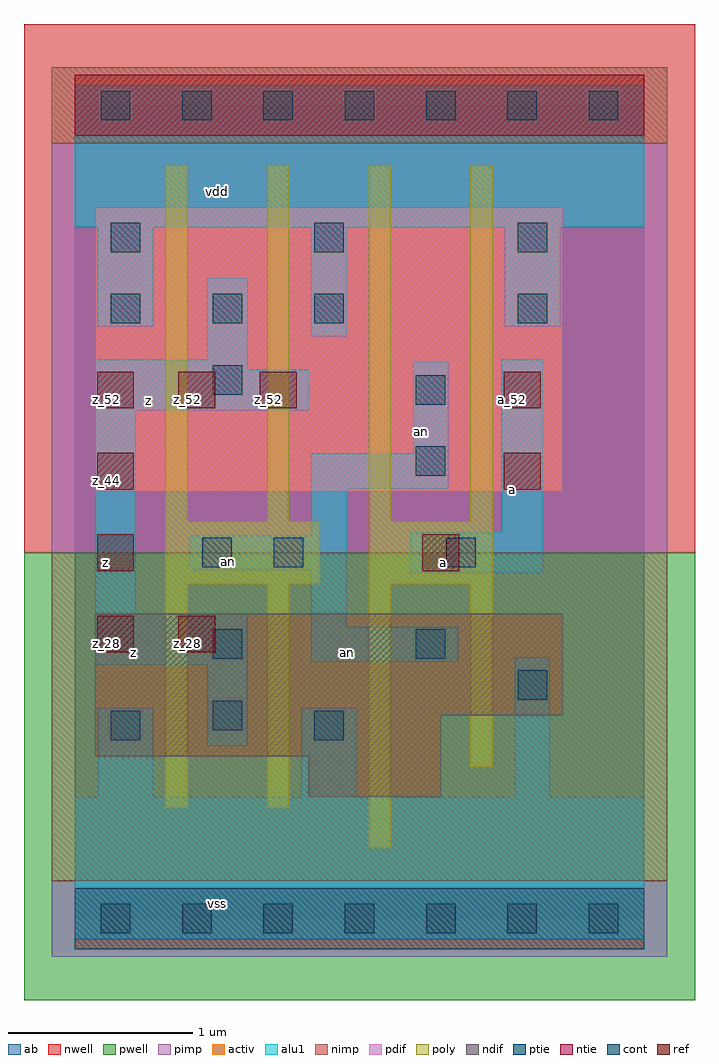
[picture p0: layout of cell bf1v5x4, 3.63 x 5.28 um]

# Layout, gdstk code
import gdstk
lib = gdstk.Library(unit=1e-6, precision=2.5e-09)
def R(c, l, rs):  # rectangles x0, y0, x1, y1
    for r in rs: c.add(gdstk.rectangle(r[:2], r[2:], *l))
def A(c, l, x, y, w, h, nx, ny, dx, dy):  # array of equal rectangles
    R(c, l, [(x+i*dx, y+j*dy, x+i*dx+w, y+j*dy+h) for i in range(nx) for j in range(ny)])
ndif = (3, 0)
pdif = (4, 0)
ntie = (5, 0)
ptie = (6, 0)
ref = (24, 0)
cont = (25, 0)
pwell = (41, 0)
nwell = (42, 0)
activ = (43, 0)
pimp = (44, 0)
nimp = (45, 0)
poly = (46, 0)
alu1 = (49, 0)
ab = (63, 0)

bf1v5x4 = lib.new_cell('bf1v5x4')
R(bf1v5x4, ndif, [(1.265,0.66,1.98,0.88), (0.11,0.88,1.98,1.1), (0.11,1.1,2.64,1.65)])
R(bf1v5x4, pdif, [(0.11,2.31,2.64,3.85)])
R(bf1v5x4, ntie, [(0,4.235,3.08,4.565)])
R(bf1v5x4, ptie, [(0,-0.165,3.08,0.165)])
A(bf1v5x4, ref, 0.12, 1.44, 0.2, 0.2, 1, 3, 0, 0.44)
A(bf1v5x4, ref, 0.12, 2.76, 0.2, 0.2, 3, 1, 0.44, 0)
R(bf1v5x4, ref, [(0.56,1.44,0.76,1.64), (1.88,1.88,2.08,2.08), (2.32,2.32,2.52,2.52), (2.32,2.76,2.52,2.96)])
A(bf1v5x4, cont, 0.14, -0.08, 0.16, 0.16, 7, 2, 0.44, 4.4)
A(bf1v5x4, cont, 0.195, 3.22, 0.16, 0.16, 3, 1, 0.55, 0)
A(bf1v5x4, cont, 0.195, 3.605, 0.16, 0.16, 3, 1, 1.1, 0)
R(bf1v5x4, cont, [(0.195,0.965,0.355,1.125), (1.295,0.965,1.455,1.125), (0.745,1.02,0.905,1.18), (2.395,1.185,2.555,1.345), (0.745,1.405,0.905,1.565), (1.845,1.405,2.005,1.565), (0.69,1.9,0.85,2.06), (1.075,1.9,1.235,2.06), (2.01,1.9,2.17,2.06), (1.845,2.395,2.005,2.555), (1.845,2.78,2.005,2.94), (0.745,2.835,0.905,2.995), (2.395,3.22,2.555,3.38)])
R(bf1v5x4, pwell, [(-0.275,-0.44,3.355,1.98)])
R(bf1v5x4, nwell, [(-0.275,1.98,3.355,4.84)])
R(bf1v5x4, activ, [(0,-0.165,3.08,0.165), (1.265,0.66,1.98,0.88), (0.11,0.88,1.98,1.1), (0.11,1.1,2.64,1.65), (0.11,2.31,2.64,3.85), (0,4.235,3.08,4.565)])
R(bf1v5x4, pimp, [(-0.125,-0.205,3.205,0.205), (-0.125,1.98,3.205,4.195)])
R(bf1v5x4, nimp, [(-0.125,0.205,3.205,1.98), (-0.125,4.195,3.205,4.605)])
A(bf1v5x4, poly, 0.49, 2.15, 0.12, 1.925, 4, 1, 0.55, 0)
R(bf1v5x4, poly, [(1.59,0.38,1.71,1.81), (0.49,0.6,0.61,1.81), (1.04,0.6,1.16,1.81), (2.14,0.82,2.26,1.81), (0.49,1.81,1.325,2.15), (1.59,1.81,2.26,2.15)])
R(bf1v5x4, alu1, [(0,-0.11,3.08,0.66), (0.125,0.66,0.425,1.14), (1.225,0.66,1.525,1.14), (2.38,0.66,2.57,1.415), (0.715,0.935,0.935,1.375), (0.11,1.375,0.935,1.65), (1.28,1.39,2.075,1.58), (1.28,1.58,1.47,1.885), (0.11,1.65,0.33,2.75), (1.815,1.87,2.53,2.09), (0.62,1.885,1.47,2.075), (1.28,2.075,1.47,2.325), (2.31,2.09,2.53,3.025), (1.28,2.325,2.02,2.515), (1.83,2.515,2.02,3.01), (0.11,2.75,1.265,2.97), (0.11,2.97,0.935,3.025), (0.715,3.025,0.935,3.465), (1.28,3.15,1.47,3.74), (0.125,3.205,0.425,3.74), (2.325,3.205,2.625,3.74), (0,3.74,3.08,4.51)])
R(bf1v5x4, ab, [(0,0,3.08,4.4)])
bf1v5x4.add(gdstk.Label('vss', (0.77,0.0825), layer=49, texttype=0))
bf1v5x4.add(gdstk.Label('an', (1.4775,1.4375), layer=49, texttype=0))
bf1v5x4.add(gdstk.Label('a', (1.9925,1.925), layer=49, texttype=0))
bf1v5x4.add(gdstk.Label('z', (0.315,1.4425), layer=49, texttype=0))
bf1v5x4.add(gdstk.Label('an', (0.8325,1.9325), layer=49, texttype=0))
bf1v5x4.add(gdstk.Label('a', (2.365,2.3225), layer=49, texttype=0))
bf1v5x4.add(gdstk.Label('an', (1.8775,2.6375), layer=49, texttype=0))
bf1v5x4.add(gdstk.Label('z', (0.165,1.925), layer=49, texttype=0))
bf1v5x4.add(gdstk.Label('z', (0.3975,2.805), layer=49, texttype=0))
bf1v5x4.add(gdstk.Label('vdd', (0.77,3.9325), layer=49, texttype=0))
bf1v5x4.add(gdstk.Label('a_52', (2.37,2.81), layer=24, texttype=0))
bf1v5x4.add(gdstk.Label('a_44', (2.37,2.37), layer=24, texttype=0))
bf1v5x4.add(gdstk.Label('z_52', (0.17,2.81), layer=24, texttype=0))
bf1v5x4.add(gdstk.Label('z_44', (0.17,2.37), layer=24, texttype=0))
bf1v5x4.add(gdstk.Label('z_36', (0.17,1.93), layer=24, texttype=0))
bf1v5x4.add(gdstk.Label('z_28', (0.17,1.49), layer=24, texttype=0))
bf1v5x4.add(gdstk.Label('a_36', (1.93,1.93), layer=24, texttype=0))
bf1v5x4.add(gdstk.Label('z_52', (1.05,2.81), layer=24, texttype=0))
bf1v5x4.add(gdstk.Label('z_52', (0.61,2.81), layer=24, texttype=0))
bf1v5x4.add(gdstk.Label('z_28', (0.61,1.49), layer=24, texttype=0))

lib.write_gds('bf1v5x4.gds')
